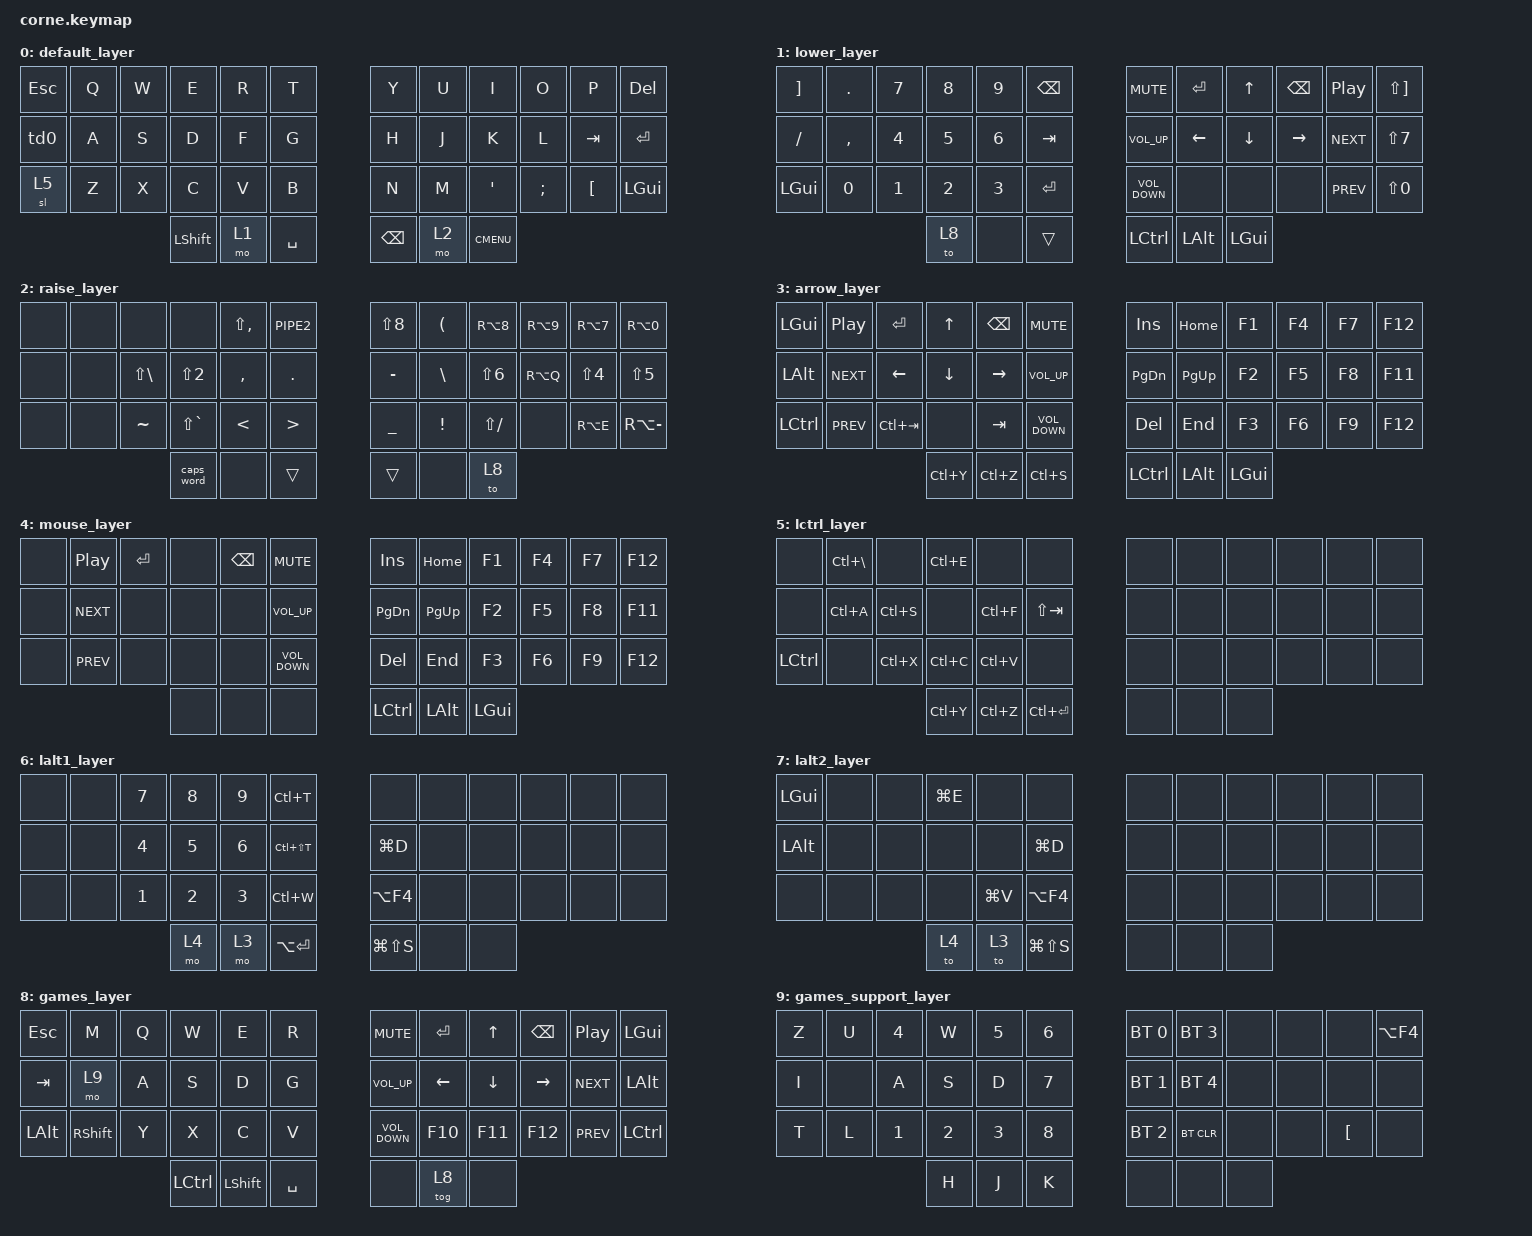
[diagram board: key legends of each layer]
#define default_layer		0
#define lower_layer		1
#define raise_layer		2
#define arrow_layer		3
#define mouse_layer		4
#define lctrl_layer		5
#define lgui_layer		6
#define lalt_layer		7
#define games_layer		8
#define games_support_layer	9

/*
 * Copyright (c) 2020 The ZMK Contributors
 *
 * SPDX-License-Identifier: MIT
 */

#include <behaviors.dtsi>
#include <dt-bindings/zmk/keys.h>
#include <dt-bindings/zmk/bt.h>


// Makro einfügen: wenn die mo6 gehalten wird soll LGUI auch gehalten werden
// &mt LSHIFT D testen sollte so sein dass er beim halten LSHIFT nimmt und beim drücken nur D



// ---------------------------------------------------------------------------------------------------



&sl {
    release-after-ms = <200>;
};



// ---------------------------------------------------------------------------------------------------

	
/ {
    macros {
        lwg: lwg {
            compatible = "zmk,behavior-macro";
            #binding-cells = <0>;
            bindings = <&mo 6 &kp LGUI>;
            label = "lwg";
        };
     };


    behaviors {
        td0: tap_dance_0 {
            compatible = "zmk,behavior-tap-dance";
            #binding-cells = <0>;
            tapping-term-ms = <200>;
            bindings = <&lwg>, <&mo 7>;
        };
     };
  };



/ {
        keymap {
                compatible = "zmk,keymap";  

                default_layer {
// ---------------------------------------------------------------------------------------------------
// 	|  ESC |  Q  |  W  |  E  |   R  |  T  |   	|  Z   |  U   |  I  |  O  |  P  | DEL  |
// 	| SL 6 |  A  |  S  |  D  |   F  |  G  |   	|  H   |  J   |  K  |  L  | --- | RET  |
// 	| SL 8 |  Y  |  X  |  C  |   V  |  B  |   	|  N   |  M   |  Ä  |  Ö  |  Ü  | LGUI |
//                   	   |LSHFT| MO 1 | SPC |   	| BSPC | MO 2 | --- |

                        bindings = <
   &kp ESC		&kp Q			&kp W			&kp E			&kp R			&kp T				&kp Y			&kp U			&kp I			&kp O			&kp P			&kp DEL
   &td0			&kp A			&kp S			&kp D			&kp F			&kp G				&kp H			&kp J			&kp K			&kp L			&kp TAB			&kp RET
   &sl 5		&kp Z			&kp X			&kp C			&kp V			&kp B				&kp N			&kp M			&kp SQT			&kp SEMI		&kp LBKT		&kp LGUI
									&kp LSHFT		&mo 1			&kp SPACE			&kp BSPC		&mo 2			&kp K_CMENU
			>;
                };
// ---------------------------------------------------------------------------------------------------


                lower_layer {
// ---------------------------------------------------------------------------------------------------
// 	  |  +  |   .  |  7  |  8  |   9  | BSPC |   	| Mute |  RET |  UP  | BSPC |PAUSE |  *  |
// 	  |  -  | LGUI |  4  |  5  |   6  | TAB  |  	| VOLU | LEFT | DOWN |RIGHT | NEXT |  /  |
// 	  |  ,  |  0   |  1  |  2  |   3  | RET  |   	| VOLD | ---- | ---- | ---- | PREV |  =  |
//   	          	     |LSHFT| MO 1 |trans |   	| trans| LALT | LCTRL|

                        bindings = <
   &kp RBKT		&kp DOT			&kp N7			&kp N8			&kp N9			&kp BSPC			&kp C_MUTE		&kp RET			&kp UP			&kp BSPC		&kp C_PLAY_PAUSE 	&kp LS(RBKT)      
   &kp SLASH		&kp COMMA		&kp N4			&kp N5			&kp N6			&kp TAB				&kp C_VOLUME_UP		&kp LEFT		&kp DOWN		&kp RIGHT		&kp C_NEXT		&kp LS(N7)
   &kp LGUI		&kp N0			&kp N1			&kp N2			&kp N3			&kp RET				&kp C_VOLUME_DOWN 	&none			&none			&none			&kp C_PREV		&kp LS(N0)       
									&to 8			&none			&trans				&kp LCTRL		&kp LALT		&kp LGUI
                        >;	
                };
// ---------------------------------------------------------------------------------------------------


                raise_layer {
// ---------------------------------------------------------------------------------------------------
// 	| --- | --- | --- | --- |  ;  |  >  |   	|  (  |  )   |  [  |  ]  |  {  |  }  |
// 	| --- | --- |  '  |  "  |  ,  |  .  |  	 	|  ß  |  #   |  &  |  @  |  $  |  %  |
// 	| --- | --- |  °  |  °  |  ;  |  :  |   	|  ?  |  &   |  _  |  °  |  €  |  \  |
//                   	  | --- | --- |trans|   	|trans| LALT |LCTRL|

                        bindings = <
   &none		&none			&none			&none			&kp LS(COMMA)		&kp PIPE2			&kp LS(N8)		&kp LEFT_PARENTHESIS	&kp RA(N8)		&kp RA(N9)		&kp RA(N7)		&kp RA(N0)       
   &none		&none      		&kp LS(BSLH)		&kp LS(N2)		&kp COMMA		&kp DOT				&kp MINUS		&kp BSLH		&kp LS(N6)		&kp RA(Q)		&kp LS(N4)		&kp LS(N5)
   &none		&none			&kp TILDE		&kp LS(GRAVE)		&kp LESS_THAN		&kp GREATER_THAN		&kp UNDER		&kp EXCL		&kp LS(SLASH)		&none			&kp RA(E)		&kp RA(MINUS) 
									&caps_word		&none			&trans				&trans			&none			&to 8
                        >;
                };
// ---------------------------------------------------------------------------------------------------


                arrow_layer {
// ---------------------------------------------------------------------------------------------------
// |  --- |  ---  |  ---  |  ---  |  ---  |  ---  |   |  ---  |  ---   |  ---  |  ---  |  ---  | --- |
// |  --- |  ---  |  ---  |  ---  |  ---  |  ---  |   |  ---  |  ---   |  ---  |  ---  |  ---  | --- |
// |  --- |  ---  |  ---  |  ---  |  ---  |  ---  |   |  ---  |  ---   |  ---  |  ---  |  ---  | --- |
//                        |  ---  |  ---  |  ---  |   |  ---  |  ---   |  ---  |

                        bindings = <
   &kp LGUI		&kp C_PLAY_PAUSE	&kp RET			&kp UP			&kp BSPC		&kp C_MUTE			&kp INS			&kp HOME		&kp F1			&kp F4			&kp F7			&kp F12
   &kp LALT		&kp C_NEXT		&kp LEFT		&kp DOWN		&kp RIGHT		&kp C_VOLUME_UP			&kp PAGE_DOWN		&kp PAGE_UP		&kp F2			&kp F5			&kp F8			&kp F11
   &kp LCTRL		&kp C_PREV		&kp LC(TAB)		&none			&kp TAB			&kp C_VOLUME_DOWN		&kp DEL			&kp END			&kp F3			&kp F6			&kp F9			&kp F12
                                                			&kp LC(Y)		&kp LC(Z)		&kp LC(S)	       		&kp LCTRL		&kp LALT		&kp LGUI
                        >;
                };
// ---------------------------------------------------------------------------------------------------


                mouse_layer {
// ---------------------------------------------------------------------------------------------------
// |  --- |  ---  |  ---  |  ---  |  ---  |  ---  |   |  ---  |  ---   |  ---  |  ---  |  ---  | --- |
// |  --- |  ---  |  ---  |  ---  |  ---  |  ---  |   |  ---  |  ---   |  ---  |  ---  |  ---  | --- |
// |  --- |  ---  |  ---  |  ---  |  ---  |  ---  |   |  ---  |  ---   |  ---  |  ---  |  ---  | --- |
//                        |  ---  |  ---  |  ---  |   |  ---  |  ---   |  ---  |

                        bindings = <
   &none		&kp C_PLAY_PAUSE	&kp RET			&none			&kp BSPC		&kp C_MUTE			&kp INS			&kp HOME		&kp F1			&kp F4			&kp F7			&kp F12
   &none		&kp C_NEXT		&none			&none			&none			&kp C_VOLUME_UP			&kp PAGE_DOWN		&kp PAGE_UP		&kp F2			&kp F5			&kp F8			&kp F11
   &none		&kp C_PREV		&none	 		&none	 		&none	 		&kp C_VOLUME_DOWN		&kp DEL			&kp END			&kp F3			&kp F6			&kp F9			&kp F12
                                                			&none			&none			&none		       		&kp LCTRL		&kp LALT		&kp LGUI
                        

			>;
                };
// ---------------------------------------------------------------------------------------------------


                 lctrl_layer		{
// ---------------------------------------------------------------------------------------------------
// |   ---  |LC(BSLH) |   ---   |  LC(E)  |    ---    |   LC(T)   |   |  ---  |  ---   |  ---  |  ---  |  ---  | --- |
// |   ---  |  LC(A)  |  LC(S)  |   ---   |   LC(F)   | LC(LS(T)) |   |  ---  |  ---   |  ---  |  ---  |  ---  | --- |
// |  LCTRL |   ---   |  LC(X)  |  LC(C)  |   LC(V)   |   LC(W)   |   |  ---  |  ---   |  ---  |  ---  |  ---  | --- |
//                       	|  LC(Y)  |   LC(Z)   |  LC(RET)  |   |  ---  |  ---   |  ---  |

                        bindings = <
   &none		&kp LC(BSLH)		&none			&kp LC(E)		&none			&none				&none			&none			&none			&none			&none			&none
   &none		&kp LC(A)		&kp LC(S)		&none	 		&kp LC(F)		&kp LS(TAB)			&none			&none			&none			&none			&none			&none
   &kp LCTRL		&none			&kp LC(X)		&kp LC(C)		&kp LC(V)		&none				&none			&none			&none			&none			&none			&none
									&kp LC(Y)		&kp LC(Z)		&kp LC(RET)			&none			&none			&none
                        >;
                };
// ---------------------------------------------------------------------------------------------------


                 lalt1_layer{
// ---------------------------------------------------------------------------------------------------
// |  --- |  ---  |  ---  |  ---  |  ---  |  ---  |   |  ---  |  ---   |  ---  |  ---  |  ---  | --- |
// |  --- |  ---  |  ---  |  ---  |  ---  |  ---  |   |  ---  |  ---   |  ---  |  ---  |  ---  | --- |
// |  --- |  ---  |  ---  |  ---  |  ---  |  ---  |   |  ---  |  ---   |  ---  |  ---  |  ---  | --- |
//                        |  ---  |  ---  |  ---  |   |  ---  |  ---   |  ---  |

                        bindings = <
   &none		&none			&kp N7			&kp N8			&kp N9			&kp LC(T)			&none			&none			&none			&none			&none			&none
   &none		&none			&kp N4			&kp N5			&kp N6			&kp LC(LS(T))			&kp LG(D)		&none			&none			&none			&none			&none
   &none		&none			&kp N1			&kp N2			&kp N3			&kp LC(W)			&kp LA(F4)		&none			&none			&none			&none			&none
									&mo 4			&mo 3			&kp LA(RET)			&kp LG(LS(S))		&none			&none
                        >;
                };
// ---------------------------------------------------------------------------------------------------


                 lalt2_layer{
// ---------------------------------------------------------------------------------------------------
// |  --- |  ---  |  ---  |  ---  |  ---  |  ---  |   |  ---  |  ---   |  ---  |  ---  |  ---  | --- |
// |  --- |  ---  |  ---  |  ---  |  ---  |  ---  |   |  ---  |  ---   |  ---  |  ---  |  ---  | --- |
// |  --- |  ---  |  ---  |  ---  |  ---  |  ---  |   |  ---  |  ---   |  ---  |  ---  |  ---  | --- |
//                        |  ---  |  ---  |  ---  |   |  ---  |  ---   |  ---  |

                        bindings = <
   &kp LGUI		&none			&none			&kp LG(E)		&none			&none				&none			&none			&none			&none			&none			&none
   &kp LALT		&none			&none			&none			&none			&kp LG(D)			&none			&none			&none			&none			&none			&none
   &none		&none			&none			&none			&kp LG(V)		&kp LA(F4)			&none			&none			&none			&none			&none			&none
									&to 4  			&to 3			&kp LG(LS(S))			&none			&none			&none
                        >;
                };
// ------------------------------------------------------------------------------------------------------------------------------------------------------------------------------------------------------
// ------------------------------------------------------------------------------------------------------------------------------------------------------------------------------------------------------
// ------------------------------------------------------------------------------------------------------------------------------------------------------------------------------------------------------
// ------------------------------------------------------------------------------------------------------------------------------------------------------------------------------------------------------
// ------------------------------------------------------------------------------------------------------------------------------------------------------------------------------------------------------
// ------------------------------------------------------------------------------------------------------------------------------------------------------------------------------------------------------


                 games_layer {
// ---------------------------------------------------------------------------------------------------
// |  --- |  ---  |  ---  |  ---  |  ---  |  ---  |   |  ---  |  ---   |  ---  |  ---  |  ---  | --- |
// |  --- |  ---  |  ---  |  ---  |  ---  |  ---  |   |  ---  |  ---   |  ---  |  ---  |  ---  | --- |
// |  --- |  ---  |  ---  |  ---  |  ---  |  ---  |   |  ---  |  ---   |  ---  |  ---  |  ---  | --- |
//                        |  ---  |  ---  |  ---  |   |  ---  |  ---   |  ---  |

                        bindings = <
   &kp ESC		&kp M			&kp Q			&kp W			&kp E			&kp R				&kp C_MUTE  		&kp RET			&kp UP			&kp BSPC		&kp C_PLAY_PAUSE	&kp LGUI
   &kp TAB		&mo 9			&kp A			&kp S			&kp D			&kp G				&kp C_VOLUME_UP 	&kp LEFT		&kp DOWN		&kp RIGHT		&kp C_NEXT		&kp LALT
   &kp LALT		&kp RSHFT		&kp Y			&kp X			&kp C			&kp V				&kp C_VOLUME_DOWN 	&kp F10			&kp F11			&kp F12			&kp C_PREV		&kp LCTRL
									&kp LCTRL		&kp LSHFT		&kp SPACE			&none			&tog 8			&none
                        >;
                };
// ---------------------------------------------------------------------------------------------------


                 games_support_layer {
// ---------------------------------------------------------------------------------------------------
// |  --- |  ---  |  ---  |  ---  |  ---  |  ---  |   |  ---  |  ---   |  ---  |  ---  |  ---  | --- |
// |  --- |  ---  |  ---  |  ---  |  ---  |  ---  |   |  ---  |  ---   |  ---  |  ---  |  ---  | --- |
// |  --- |  ---  |  ---  |  ---  |  ---  |  ---  |   |  ---  |  ---   |  ---  |  ---  |  ---  | --- |
//                        |  ---  |  ---  |  ---  |   |  ---  |  ---   |  ---  |

                        bindings = <
   &kp Z		&kp U			&kp N4			&kp W			&kp N5			&kp N6				&bt BT_SEL 0		&bt BT_SEL 3		&none			&none			&none			&kp LA(F4)
   &kp I		&none			&kp A			&kp S			&kp D			&kp N7				&bt BT_SEL 1		&bt BT_SEL 4		&none			&none			&none			&none
   &kp T		&kp L			&kp N1			&kp N2			&kp N3			&kp N8				&bt BT_SEL 2		&bt BT_CLR		&none			&none			&kp LBKT		&none 
									&kp H 			&kp J			&kp K				&none			&none 			&none
                        >;
                };

// ---------------------------------------------------------------------------------------------------

        };
};





